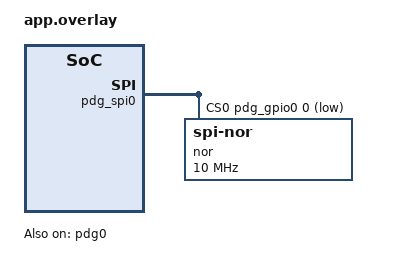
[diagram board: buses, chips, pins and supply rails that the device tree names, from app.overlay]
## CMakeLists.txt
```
# Copyright (c) 2026 Open Device Partnership and Contributors
# SPDX-License-Identifier: MIT

cmake_minimum_required(VERSION 3.20.0)

set(BOARD native_sim/native/64 CACHE STRING "Default board for Pico de Gallo samples")
set(SHIELD pico_de_gallo CACHE STRING "Default shield for Pico de Gallo samples")
get_filename_component(PDG_MODULE_ROOT "${CMAKE_CURRENT_LIST_DIR}/../../.." ABSOLUTE)
list(APPEND EXTRA_ZEPHYR_MODULES "${PDG_MODULE_ROOT}")

find_package(Zephyr REQUIRED HINTS $ENV{ZEPHYR_BASE})
project(pdg_spi_nor_id)

target_sources(app PRIVATE src/main.c)
```

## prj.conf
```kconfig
CONFIG_SPI=y
CONFIG_FLASH=y
CONFIG_SPI_NOR=y
CONFIG_SPI_NOR_SFDP_RUNTIME=y
CONFIG_FLASH_PAGE_LAYOUT=y
CONFIG_LOG=y

# native_sim enables a simulated flash by default, which would put a second
# flash device in the image and drop a 2 MiB flash.bin in the source tree.
# Turn it off so the only flash present is the real part behind the bridge.
CONFIG_FLASH_SIMULATOR=n
```

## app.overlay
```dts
/*
 * Copyright (c) 2026 Open Device Partnership and Contributors
 *
 * SPDX-License-Identifier: MIT
 */

#include <zephyr/dt-bindings/gpio/gpio.h>

&pdg0 {
	status = "okay";

	/*
	 * REQUIRED: replace this placeholder with this board's serial from
	 * `gallo list`. SPI chip select actuates GPIO, so R11 forbids
	 * selector-less operation: with multiple boards attached, it could
	 * drive the wrong board's pins.
	 */
	serial-number = "REPLACE_WITH_YOUR_PICO_DE_GALLO_SERIAL";
};

&pdg_gpio0 {
	status = "okay";
};

&pdg_spi0 {
	status = "okay";

	/*
	 * Chip select on firmware user GPIO0 (RP2350 GPIO8, header pin 11).
	 * The cell is a firmware user GPIO index, not an RP2350 GPIO number
	 * and not a header pin number.
	 */
	cs-gpios = <&pdg_gpio0 0 GPIO_ACTIVE_LOW>;

	/*
	 * A JEDEC SPI NOR flash on cs-gpios index 0.
	 *
	 * The omissions here are deliberate. Every write-capable path in
	 * Zephyr's spi_nor driver is gated on a devicetree property, and none
	 * of them are set: has-lock (WREN+WRSR to clear block protect),
	 * requires-ulbpr (ULBPR), enter-4byte-addr (WREN+4BA), has-dpd
	 * (DPD/RDPD), mxicy-mx25r-power-mode (WREN+WRSR on config registers)
	 * and use-flag-status-register (CLRFLSR). With those absent, and with
	 * the application calling only flash_read(), the driver never issues a
	 * write, erase or write-enable opcode.
	 *
	 * jedec-id and size are informational under CONFIG_SPI_NOR_SFDP_RUNTIME,
	 * which discovers the real geometry from the device. Note that Zephyr
	 * expresses size in *bits*: 16 Mbit is 2 MiB.
	 */
	nor: nor@0 {
		compatible = "jedec,spi-nor";
		reg = <0>;
		spi-max-frequency = <10000000>;
		jedec-id = [c8 40 15];
		size = <0x1000000>;
		status = "okay";
	};
};
```

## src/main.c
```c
/*
 * Copyright (c) 2026 Open Device Partnership and Contributors
 *
 * SPDX-License-Identifier: MIT
 *
 * Identifies a JEDEC SPI NOR flash attached to a Pico de Gallo bridge, using
 * Zephyr's flash API from native_sim.
 *
 * The point of this sample is that nothing here is Pico de Gallo specific.
 * It uses the stock jedec,spi-nor driver and the generic flash API; the
 * bridge is just another SPI controller as far as they are concerned. The
 * geometry printed below is discovered from the device at runtime via SFDP,
 * so the driver really is talking to the part rather than reading constants
 * back out of the devicetree.
 *
 * This sample only ever calls flash_read(). It does not call flash_write(),
 * flash_erase() or flash_ex_op(), and app.overlay omits every devicetree
 * property that would let the driver issue a write during initialisation.
 * See the comment there for the specific list.
 */

#include <zephyr/kernel.h>
#include <zephyr/device.h>
#include <zephyr/drivers/flash.h>
#include <zephyr/sys/printk.h>

#define NOR_DUMP_LEN 16U

static const struct device *const nor = DEVICE_DT_GET(DT_NODELABEL(nor));

static void hexdump(const uint8_t *data, size_t len)
{
	for (size_t i = 0; i < len; i++) {
		printk("%02X%s", data[i], (i + 1U == len) ? "" : " ");
	}
}

int main(void)
{
	const struct flash_parameters *params;
	uint8_t buf[NOR_DUMP_LEN];
	uint64_t size = 0;
	int ret;

	if (!device_is_ready(nor)) {
		printk("Flash not ready (Pico de Gallo bridge and flash connected?)\n");
		return 0;
	}

	/*
	 * Reaching this point already proves a good deal: the driver read the
	 * JEDEC ID and walked the SFDP tables over the bridge during init, and
	 * refused to become ready if either failed.
	 */
	printk("Flash device ready: %s\n", nor->name);

	ret = flash_get_size(nor, &size);
	if (ret == 0) {
		printk("size:     %llu KiB\n", size / 1024U);
	} else {
		printk("size:     unavailable (%d)\n", ret);
	}

	params = flash_get_parameters(nor);
	if (params != NULL) {
		printk("write:    %zu B block, erased value 0x%02X\n",
		       params->write_block_size, params->erase_value);
	}

#if defined(CONFIG_FLASH_PAGE_LAYOUT)
	struct flash_pages_info page;

	ret = flash_get_page_info_by_offs(nor, 0, &page);
	if (ret == 0) {
		printk("erase:    %zu B pages, %zu total\n", page.size,
		       flash_get_page_count(nor));
	}
#endif

	ret = flash_read(nor, 0, buf, sizeof(buf));
	if (ret < 0) {
		printk("flash_read failed: %d\n", ret);
		return 0;
	}

	printk("@000000:  ");
	hexdump(buf, sizeof(buf));
	printk("\n");

	return 0;
}
```
